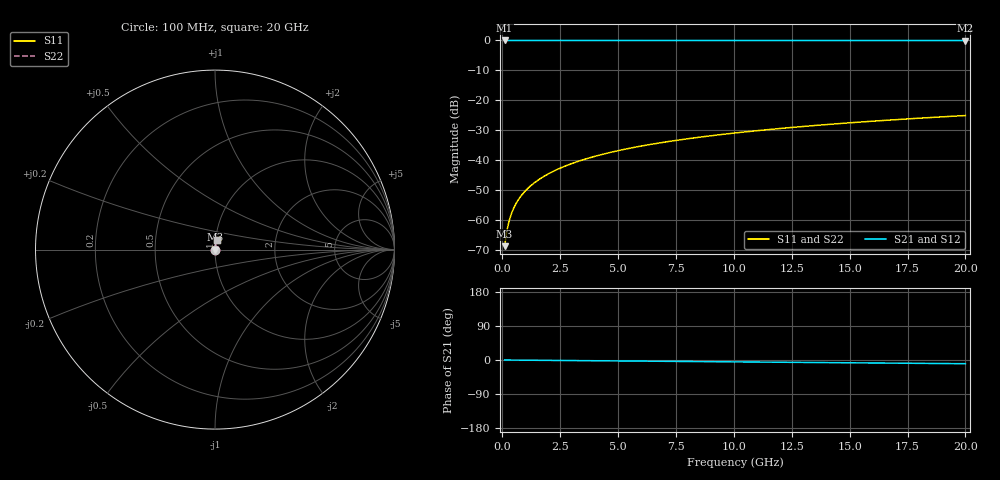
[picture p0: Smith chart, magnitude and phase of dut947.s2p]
! Touchstone file exported from HFSS 2026.1.0
!  File:  C:/ffzhzh/LocalFiles/Ansys_Project_Files/temp_train_TSV_947_1783187177_22436.aedt
!  Generated:  01:48:11 AM Jul  5, 2026
!  Design:  TSV
!  Project:  temp_train_TSV_947_1783187177_22436
! Variables:
!  h_bsmrdl = 2um
!  h_ox = 20um
!  h_rdl = 5um
!  h_sub = 90.22um
!  h_tmrdl = 5um
!  h_tsv = 90.22um
!  h_via = 3um
!  l_bsmrdl = 300um
!  l_sub = 417.18um
!  l_tmrdl = 200um
!  m_sub = 200um
!  pitch = 53.96um
!  r_tsv = 8.59um
!  s_tmrdl = 10um
!  w_bsmrdl = 18um
!  w_sub = 500um
!  w_tmrdl = 12um
!  x_tsv_center1 = 206um
!  x_tsv_center2 = 524um
!  x_tsv_center3 = 736um
!  x_tsv_center4 = 1054um
!  x_tsv_center5 = 1266um
!  x_tsv_center6 = 1584um
# GHz S MA R 50.000000
! Terminal data exported
! Port[1] = TSV1_1_T1
! Port[2] = TSV1_1_T2
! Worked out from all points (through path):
!   200 points, 100 MHz to 20 GHz, reference 50 ohm
!   highest |S21| = 0.00 dB at 100 MHz (marker M1); lowest = 0.0 dB at 20 GHz (marker M2)
!   group delay of S21, straight-line fit = 1.36 ps
!   lowest |S11| = -68.6 dB at 100 MHz (marker M3), VSWR 1.00, Z = 50 + j0.0326 ohm
!   |S11| at or under -10 dB: start of sweep to end of sweep
!   |S22| runs from -68.6 to -25.1 dB; largest |S21 - S12| = 5.7e-15
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0.1  0.0003697 61.9  0.9998 -0.1  0.9998 -0.1  0.0003697 61.9
! Gamma 0 0 0 0
! Port Impedance 50 0 50 0
0.2  0.0006763 74.1  0.9998 -0.1  0.9998 -0.1  0.0006763 74.1
0.3  0.0009916 78.2  0.9998 -0.2  0.9998 -0.2  0.0009916 78.2
0.4  0.001305 80.0  0.9998 -0.2  0.9998 -0.2  0.001305 80.0
0.5  0.001615 81.0  0.9998 -0.3  0.9998 -0.3  0.001615 81.0
0.6  0.001921 81.7  0.9997 -0.3  0.9997 -0.3  0.001921 81.7
0.7  0.002222 82.1  0.9997 -0.4  0.9997 -0.4  0.002222 82.1
0.8  0.00252 82.4  0.9997 -0.4  0.9997 -0.4  0.00252 82.4
1  0.003107 82.9  0.9996 -0.5  0.9996 -0.5  0.003107 82.9
1.4  0.004261 83.6  0.9996 -0.7  0.9996 -0.7  0.004261 83.6
1.7  0.005121 83.9  0.9995 -0.9  0.9995 -0.9  0.005121 83.9
2  0.005978 84.2  0.9995 -1.0  0.9995 -1.0  0.005978 84.2
2.7  0.007975 84.6  0.9994 -1.3  0.9994 -1.3  0.007975 84.6
3.5  0.01025 84.7  0.9993 -1.7  0.9993 -1.7  0.01025 84.7
4.2  0.01224 84.6  0.9992 -2.1  0.9992 -2.1  0.01224 84.6
5  0.0145 84.5  0.9991 -2.5  0.9991 -2.5  0.0145 84.5
6.8  0.01955 84.0  0.9989 -3.4  0.9989 -3.4  0.01955 84.0
8.3  0.02374 83.5  0.9987 -4.1  0.9987 -4.1  0.02374 83.5
10.1  0.02874 82.9  0.9985 -5.0  0.9985 -5.0  0.02874 82.9
13.4  0.03787 81.5  0.998 -6.6  0.998 -6.6  0.03787 81.5
16.7  0.04692 80.1  0.9975 -8.2  0.9975 -8.2  0.04692 80.1
20  0.05589 78.6  0.9969 -9.8  0.9969 -9.8  0.05589 78.6
